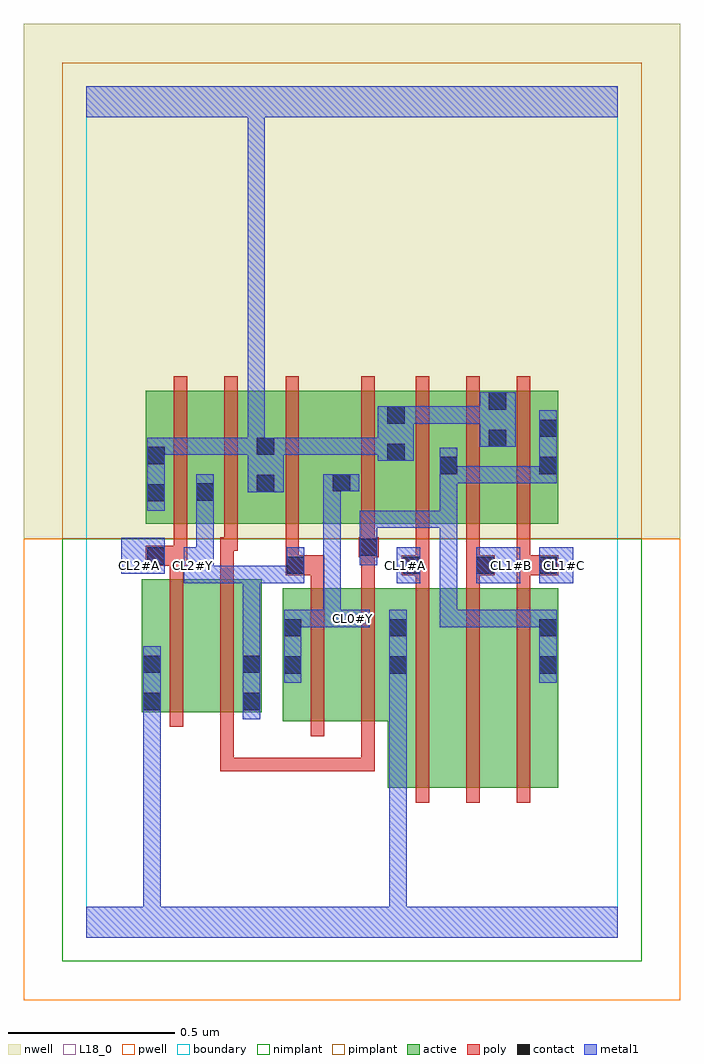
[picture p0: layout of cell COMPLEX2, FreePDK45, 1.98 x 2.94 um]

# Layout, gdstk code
import gdstk
lib = gdstk.Library(unit=1e-6, precision=1e-09)
def R(c, l, rs):  # rectangles x0, y0, x1, y1
    for r in rs: c.add(gdstk.rectangle(r[:2], r[2:], *l))
def A(c, l, x, y, w, h, nx, ny, dx, dy):  # array of equal rectangles
    R(c, l, [(x+i*dx, y+j*dy, x+i*dx+w, y+j*dy+h) for i in range(nx) for j in range(ny)])
active = (1, 0)
pwell = (2, 0)
nwell = (3, 0)
nimplant = (4, 0)
pimplant = (5, 0)
poly = (9, 0)
contact = (10, 0)
metal1 = (11, 0)
L18_0 = (18, 0)
boundary = (235, 0)

complex2 = lib.new_cell('COMPLEX2')
R(complex2, active, [(0.908,0.45,1.088,1.05), (1.088,0.45,1.24,1.05), (1.24,0.45,1.42,1.05), (1.36,0.556,1.42,1.05), (0.592,0.65,0.772,1.05), (0.772,0.65,0.968,1.05), (0.168,0.678,0.348,1.078), (0.168,0.678,0.228,1.078), (0.348,0.678,0.528,1.078), (0.468,0.678,0.528,1.078), (0.592,0.756,0.652,1.05), (0.908,0.756,0.968,0.962), (0.18,1.244,0.24,1.644), (0.18,1.244,0.388,1.644), (0.328,1.244,0.57,1.644), (0.51,1.244,0.798,1.644), (0.738,1.244,0.962,1.644), (0.902,1.244,1.12,1.644), (1.06,1.244,1.268,1.644), (1.208,1.244,1.42,1.644), (1.36,1.244,1.42,1.644), (0.328,1.31,0.388,1.644), (0.51,1.336,0.57,1.644), (0.738,1.338,0.798,1.644), (0.902,1.338,0.962,1.644), (1.208,1.338,1.268,1.644), (1.06,1.39,1.12,1.644)])
R(complex2, pwell, [(-0.188,-0.188,1.788,1.2)])
R(complex2, nwell, [(-0.188,1.2,1.788,2.748)])
R(complex2, nimplant, [(-0.072,-0.072,1.672,1.2)])
R(complex2, pimplant, [(-0.072,1.2,1.672,2.632)])
A(complex2, poly, 0.992, 0.406, 0.04, 0.688, 3, 1, 0.152, 0)
A(complex2, poly, 0.992, 1.054, 0.04, 0.076, 3, 1, 0.152, 0)
A(complex2, poly, 0.992, 1.11, 0.04, 0.13, 3, 1, 0.152, 0)
A(complex2, poly, 0.992, 1.2, 0.04, 0.488, 3, 1, 0.152, 0)
R(complex2, poly, [(0.404,0.5,0.444,0.54), (0.404,0.5,0.444,0.54), (0.404,0.5,0.444,0.54), (0.404,0.5,0.55,0.54), (0.404,0.5,0.444,0.674), (0.51,0.5,0.55,0.54), (0.51,0.5,0.55,0.54), (0.51,0.5,0.55,0.54), (0.51,0.5,0.868,0.54), (0.828,0.5,0.868,0.54), (0.828,0.5,0.868,0.54), (0.828,0.5,0.868,0.54), (0.828,0.5,0.868,0.646), (0.676,0.606,0.716,1.094), (0.828,0.606,0.868,1.094), (0.252,0.634,0.292,1.122), (0.404,0.634,0.444,1.122), (0.676,1.054,0.716,1.13), (0.828,1.054,0.868,1.184), (0.252,1.082,0.292,1.158), (0.404,1.082,0.444,1.204), (0.6,1.09,0.716,1.15), (0.95,1.09,1.032,1.15), (1.144,1.09,1.184,1.13), (1.144,1.09,1.184,1.13), (1.144,1.09,1.23,1.15), (1.296,1.09,1.336,1.13), (1.296,1.09,1.336,1.13), (1.296,1.09,1.42,1.15), (0.6,1.11,0.64,1.24), (0.6,1.11,0.64,1.15), (0.6,1.11,0.64,1.15), (0.992,1.11,1.032,1.15), (0.992,1.11,1.032,1.15), (0.18,1.118,0.304,1.178), (0.252,1.118,0.292,1.158), (0.252,1.118,0.292,1.158), (0.264,1.138,0.304,1.24), (0.82,1.144,0.88,1.204), (0.828,1.144,0.868,1.184), (0.828,1.144,0.868,1.184), (0.404,1.164,0.444,1.204), (0.404,1.164,0.444,1.204), (0.404,1.164,0.456,1.204), (0.416,1.164,0.456,1.24), (0.828,1.164,0.868,1.24), (0.264,1.2,0.304,1.688), (0.416,1.2,0.456,1.688), (0.6,1.2,0.64,1.688), (0.828,1.2,0.868,1.688)])
R(complex2, contact, [(0.172,0.684,0.224,0.736), (0.472,0.684,0.524,0.736), (0.596,0.794,0.648,0.846), (0.912,0.794,0.964,0.846), (1.364,0.794,1.416,0.846), (0.172,0.796,0.224,0.848), (0.472,0.796,0.524,0.848), (0.596,0.906,0.648,0.958), (0.912,0.906,0.964,0.958), (1.364,0.906,1.416,0.958), (0.604,1.094,0.656,1.146), (0.954,1.094,1.006,1.146), (1.174,1.094,1.226,1.146), (1.364,1.094,1.416,1.146), (0.184,1.122,0.236,1.174), (0.824,1.148,0.876,1.2), (0.184,1.312,0.236,1.364), (0.332,1.314,0.384,1.366), (0.514,1.34,0.566,1.392), (0.742,1.342,0.794,1.394), (1.064,1.394,1.116,1.446), (1.364,1.394,1.416,1.446), (0.184,1.424,0.236,1.476), (0.906,1.434,0.958,1.486), (0.514,1.452,0.566,1.504), (1.212,1.476,1.264,1.528), (1.364,1.506,1.416,1.558), (0.906,1.546,0.958,1.598), (1.212,1.588,1.264,1.64)])
R(complex2, metal1, [(0,0,1.6,0.092), (0.172,0.04,0.224,0.092), (0.172,0.04,0.224,0.092), (0.172,0.04,0.224,0.092), (0.172,0.04,0.224,0.092), (0.172,0.04,0.224,0.708), (0.912,0.04,0.964,0.092), (0.912,0.04,0.964,0.092), (0.912,0.04,0.964,0.818), (0.172,0.656,0.224,0.708), (0.172,0.656,0.224,0.708), (0.172,0.656,0.224,0.708), (0.172,0.656,0.224,0.708), (0.172,0.656,0.224,0.708), (0.172,0.656,0.224,0.708), (0.172,0.656,0.224,0.708), (0.172,0.656,0.224,0.708), (0.172,0.656,0.224,0.876), (0.472,0.656,0.524,0.876), (0.596,0.766,0.648,0.986), (0.912,0.766,0.964,0.818), (0.912,0.766,0.964,0.818), (0.912,0.766,0.964,0.818), (0.912,0.766,0.964,0.818), (0.912,0.766,0.964,0.818), (0.912,0.766,0.964,0.818), (0.912,0.766,0.964,0.986), (1.364,0.766,1.416,0.986), (0.472,0.824,0.524,1.118), (0.596,0.934,0.648,0.986), (0.596,0.934,0.648,0.986), (0.596,0.934,0.766,0.986), (0.714,0.934,0.766,0.986), (0.714,0.934,0.766,0.986), (0.714,0.934,0.766,1.394), (0.714,0.934,0.854,0.986), (1.064,0.934,1.116,0.986), (1.064,0.934,1.306,0.986), (1.064,0.934,1.116,1.284), (1.254,0.934,1.306,0.986), (1.254,0.934,1.306,0.986), (1.254,0.934,1.306,0.986), (1.254,0.934,1.416,0.986), (1.364,0.934,1.416,0.986), (1.364,0.934,1.416,0.986), (1.364,0.934,1.416,0.986), (1.364,0.934,1.416,0.986), (0.294,1.066,0.384,1.174), (0.332,1.066,0.384,1.118), (0.332,1.066,0.384,1.118), (0.332,1.066,0.524,1.118), (0.472,1.066,0.524,1.118), (0.472,1.066,0.656,1.118), (0.604,1.066,0.656,1.118), (0.604,1.066,0.656,1.118), (0.604,1.066,0.656,1.174), (0.934,1.066,1.006,1.174), (1.174,1.066,1.306,1.174), (1.364,1.066,1.466,1.174), (0.106,1.094,0.236,1.202), (0.824,1.12,0.876,1.228), (0.332,1.122,0.384,1.338), (0.824,1.176,0.876,1.228), (0.824,1.176,0.876,1.284), (0.824,1.232,1.116,1.284), (1.064,1.232,1.116,1.284), (1.064,1.232,1.116,1.284), (1.064,1.232,1.116,1.284), (1.064,1.232,1.116,1.418), (0.184,1.284,0.236,1.504), (0.332,1.286,0.384,1.338), (0.332,1.286,0.384,1.338), (0.332,1.286,0.384,1.394), (0.486,1.34,0.594,1.504), (0.714,1.342,0.766,1.394), (0.714,1.342,0.766,1.394), (0.714,1.342,0.822,1.394), (1.064,1.366,1.226,1.418), (1.064,1.366,1.116,1.474), (1.174,1.366,1.226,1.418), (1.174,1.366,1.226,1.418), (1.174,1.366,1.226,1.418), (1.174,1.366,1.416,1.418), (1.364,1.366,1.416,1.418), (1.364,1.366,1.416,1.418), (1.364,1.366,1.416,1.586), (0.878,1.434,0.986,1.598), (0.184,1.452,0.236,1.504), (0.184,1.452,0.236,1.504), (0.184,1.452,0.414,1.504), (0.362,1.452,0.414,1.504), (0.362,1.452,0.414,1.504), (0.362,1.452,0.414,1.504), (0.362,1.452,0.538,1.504), (0.486,1.452,0.538,1.504), (0.486,1.452,0.538,1.504), (0.486,1.452,0.538,2.52), (0.542,1.452,0.766,1.504), (0.714,1.452,0.766,1.504), (0.714,1.452,0.766,1.504), (0.714,1.452,0.766,1.504), (0.714,1.452,0.876,1.504), (0.824,1.452,0.876,1.504), (0.824,1.452,0.93,1.504), (1.184,1.476,1.292,1.64), (0.934,1.546,0.986,1.598), (0.934,1.546,0.986,1.598), (0.934,1.546,1.116,1.598), (1.064,1.546,1.116,1.598), (1.064,1.546,1.236,1.598), (1.184,1.546,1.236,1.598), (1.184,1.546,1.236,1.598), (0,2.468,1.6,2.56), (0.486,2.468,0.538,2.52), (0.486,2.468,0.538,2.52), (0.486,2.468,0.538,2.52), (0.486,2.468,0.538,2.52), (0.486,2.468,0.538,2.52), (0.486,2.468,0.538,2.52), (0.486,2.468,0.538,2.52), (0.486,2.468,0.538,2.52), (0.486,2.468,0.538,2.52), (0.486,2.468,0.538,2.52), (0.486,2.468,0.538,2.52), (0.486,2.468,0.538,2.52), (0.486,2.468,0.538,2.52), (0.486,2.468,0.538,2.52), (0.486,2.468,0.538,2.52), (0.486,2.468,0.538,2.52)])
R(complex2, L18_0, [(0,0,1.6,0.092), (0.172,0.04,0.224,0.092), (0.172,0.04,0.224,0.092), (0.172,0.04,0.224,0.092), (0.172,0.04,0.224,0.092), (0.172,0.04,0.224,0.708), (0.912,0.04,0.964,0.092), (0.912,0.04,0.964,0.092), (0.912,0.04,0.964,0.818), (0.172,0.656,0.224,0.708), (0.172,0.656,0.224,0.708), (0.172,0.656,0.224,0.708), (0.172,0.656,0.224,0.708), (0.172,0.656,0.224,0.708), (0.172,0.656,0.224,0.708), (0.172,0.656,0.224,0.708), (0.172,0.656,0.224,0.708), (0.172,0.656,0.224,0.876), (0.472,0.656,0.524,0.876), (0.596,0.766,0.648,0.986), (0.912,0.766,0.964,0.818), (0.912,0.766,0.964,0.818), (0.912,0.766,0.964,0.818), (0.912,0.766,0.964,0.818), (0.912,0.766,0.964,0.818), (0.912,0.766,0.964,0.818), (0.912,0.766,0.964,0.986), (0.472,0.824,0.524,1.118), (0.596,0.934,0.648,0.986), (0.596,0.934,0.648,0.986), (0.596,0.934,0.766,0.986), (0.714,0.934,0.766,0.986), (0.714,0.934,0.766,0.986), (0.714,0.934,0.854,0.986), (0.714,0.934,0.766,1.394), (0.774,0.934,0.826,0.986), (0.294,1.066,0.384,1.174), (0.332,1.066,0.384,1.118), (0.332,1.066,0.384,1.118), (0.332,1.066,0.524,1.118), (0.472,1.066,0.524,1.118), (0.472,1.066,0.656,1.118), (0.604,1.066,0.656,1.118), (0.604,1.066,0.656,1.118), (0.604,1.066,0.656,1.174), (0.934,1.066,1.006,1.174), (1.174,1.066,1.306,1.174), (1.364,1.066,1.466,1.174), (0.106,1.094,0.236,1.202), (0.134,1.094,0.186,1.146), (0.294,1.094,0.346,1.146), (0.934,1.094,0.986,1.146), (1.254,1.094,1.306,1.146), (1.414,1.094,1.466,1.146), (0.332,1.122,0.384,1.338), (0.184,1.284,0.236,1.504), (0.332,1.286,0.384,1.338), (0.332,1.286,0.384,1.338), (0.332,1.286,0.384,1.394), (0.486,1.34,0.594,1.504), (0.714,1.342,0.766,1.394), (0.714,1.342,0.766,1.394), (0.714,1.342,0.822,1.394), (0.878,1.434,0.986,1.598), (0.184,1.452,0.236,1.504), (0.184,1.452,0.236,1.504), (0.184,1.452,0.414,1.504), (0.362,1.452,0.414,1.504), (0.362,1.452,0.414,1.504), (0.362,1.452,0.414,1.504), (0.362,1.452,0.538,1.504), (0.486,1.452,0.538,1.504), (0.486,1.452,0.538,1.504), (0.486,1.452,0.538,2.52), (0.542,1.452,0.766,1.504), (0.714,1.452,0.766,1.504), (0.714,1.452,0.766,1.504), (0.714,1.452,0.766,1.504), (0.714,1.452,0.876,1.504), (0.824,1.452,0.876,1.504), (0.824,1.452,0.93,1.504), (1.184,1.476,1.292,1.64), (0.934,1.546,0.986,1.598), (0.934,1.546,0.986,1.598), (0.934,1.546,1.116,1.598), (1.064,1.546,1.116,1.598), (1.064,1.546,1.236,1.598), (1.184,1.546,1.236,1.598), (1.184,1.546,1.236,1.598), (0,2.468,1.6,2.56), (0.486,2.468,0.538,2.52), (0.486,2.468,0.538,2.52), (0.486,2.468,0.538,2.52), (0.486,2.468,0.538,2.52), (0.486,2.468,0.538,2.52), (0.486,2.468,0.538,2.52), (0.486,2.468,0.538,2.52), (0.486,2.468,0.538,2.52), (0.486,2.468,0.538,2.52), (0.486,2.468,0.538,2.52), (0.486,2.468,0.538,2.52), (0.486,2.468,0.538,2.52), (0.486,2.468,0.538,2.52), (0.486,2.468,0.538,2.52), (0.486,2.468,0.538,2.52), (0.486,2.468,0.538,2.52)])
R(complex2, boundary, [(0,0,1.6,2.56)])
complex2.add(gdstk.Label('CL0#Y', (0.8,0.96), layer=11, texttype=0))
complex2.add(gdstk.Label('CL1#A', (0.96,1.12), layer=11, texttype=0))
complex2.add(gdstk.Label('CL1#B', (1.28,1.12), layer=11, texttype=0))
complex2.add(gdstk.Label('CL1#C', (1.44,1.12), layer=11, texttype=0))
complex2.add(gdstk.Label('CL2#A', (0.16,1.12), layer=11, texttype=0))
complex2.add(gdstk.Label('CL2#Y', (0.32,1.12), layer=11, texttype=0))

lib.write_gds('COMPLEX2.gds')
